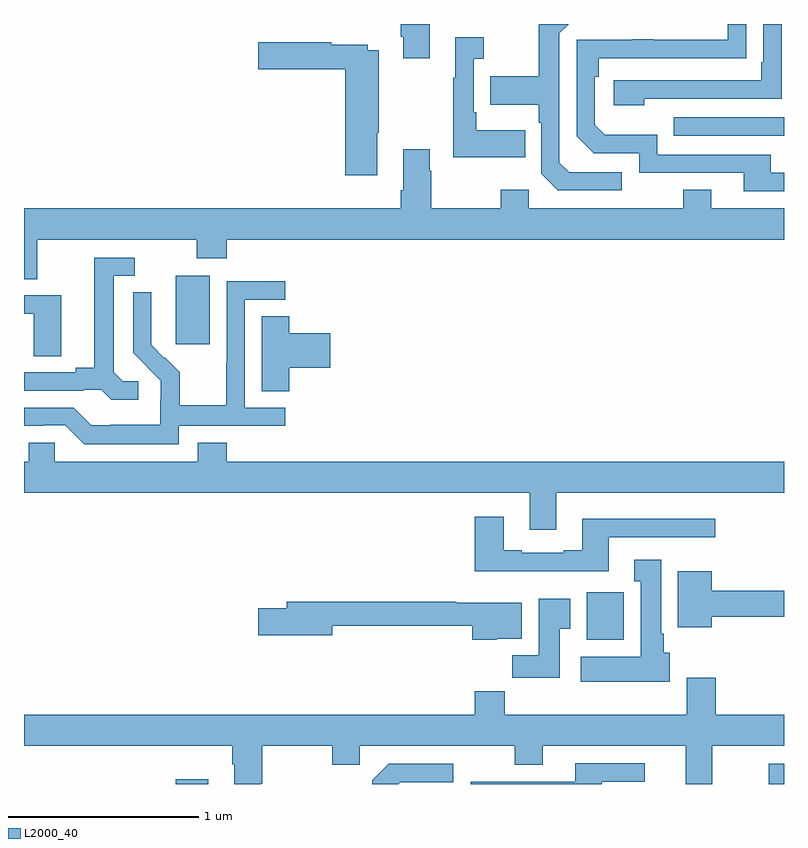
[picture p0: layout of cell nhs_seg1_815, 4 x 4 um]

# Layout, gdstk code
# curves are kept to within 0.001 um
import gdstk
lib = gdstk.Library(unit=1e-6, precision=1e-09)
def R(c, l, rs):  # rectangles x0, y0, x1, y1
    for r in rs: c.add(gdstk.rectangle(r[:2], r[2:], *l))
def P(c, l, *ps):  # polygons
    for p in ps: c.add(gdstk.Polygon(p, *l))
L2000_40 = (2000, 40)

nhs_seg1_815 = lib.new_cell('nhs_seg1_815')
R(nhs_seg1_815, L2000_40, [(155.798,550.199,155.971,550.225), (158.921,550.199,159,550.305), (157.961,550.958,158.157,551.209), (155.798,552.513,155.977,552.874), (158.419,553.611,159,553.707)])
P(nhs_seg1_815, L2000_40, [(159,553.416),(158.929,553.416),(158.929,553.512),(158.334,553.512),(158.334,553.615),(158.057,553.615),(158.004,553.668),(158.004,553.922),(158.024,553.922),(158.024,554.019),(158.801,554.02),(158.801,554.199),(158.705,554.199),(158.705,554.115),(158.315,554.115),(158.315,554.12),(158.203,554.12),(158.203,554.115),(157.908,554.115),(157.908,553.608),(157.998,553.518),(158.238,553.518),(158.238,553.416),(158.789,553.416),(158.789,553.32),(159,553.32)],
  [(158.264,553.806),(158.988,553.806),(158.988,554.199),(158.892,554.199),(158.892,553.999),(158.879,553.999),(158.879,553.902),(158.103,553.902),(158.103,553.772),(158.264,553.772)],
  [(157.135,554.199),(156.983,554.199),(156.983,554.131),(156.995,554.131),(156.995,554.019),(157.135,554.019)],
  [(158.146,553.419),(157.869,553.419),(157.818,553.47),(157.818,554.151),(157.866,554.199),(157.714,554.199),(157.71,554.195),(157.71,553.923),(157.453,553.923),(157.453,553.775),(157.71,553.775),(157.71,553.679),(157.722,553.679),(157.722,553.41),(157.809,553.323),(158.146,553.323)],
  [(157.637,553.639),(157.381,553.639),(157.381,553.735),(157.368,553.735),(157.368,554.015),(157.42,554.015),(157.42,554.128),(157.271,554.128),(157.271,553.915),(157.26,553.915),(157.26,553.499),(157.637,553.499)],
  [(156.859,553.627),(156.867,553.627),(156.867,554.062),(156.81,554.062),(156.81,554.091),(156.618,554.091),(156.618,554.103),(156.234,554.103),(156.234,553.961),(156.692,553.961),(156.692,553.404),(156.859,553.404)],
  [(155.071,553.064),(155.908,553.064),(155.908,552.965),(156.068,552.965),(156.068,553.064),(159,553.064),(159,553.228),(158.617,553.228),(158.617,553.327),(158.47,553.327),(158.47,553.228),(157.656,553.228),(157.656,553.327),(157.51,553.327),(157.51,553.228),(157.143,553.228),(157.143,553.427),(157.135,553.427),(157.135,553.54),(156.995,553.54),(156.995,553.324),(156.983,553.324),(156.983,553.228),(155,553.228),(155,552.856),(155.071,552.856)],
  [(155.602,552.318),(155.52,552.318),(155.473,552.365),(155.473,552.873),(155.584,552.873),(155.584,552.969),(155.369,552.969),(155.369,552.389),(155.273,552.389),(155.273,552.366),(155,552.366),(155,552.27),(155.312,552.27),(155.312,552.273),(155.406,552.273),(155.458,552.221),(155.602,552.221)],
  [(155.814,552.084),(156.376,552.084),(156.376,552.18),(156.162,552.18),(156.162,552.747),(156.376,552.747),(156.376,552.846),(156.066,552.846),(156.066,552.416),(156.064,552.416),(156.064,552.193),(155.819,552.193),(155.819,552.367),(155.742,552.444),(155.739,552.441),(155.669,552.512),(155.67,552.788),(155.574,552.788),(155.574,552.47),(155.72,552.322),(155.72,552.225),(155.718,552.225),(155.718,552.091),(155.455,552.091),(155.455,552.087),(155.355,552.087),(155.262,552.18),(155,552.18),(155,552.084),(155.102,552.084),(155.102,552.087),(155.217,552.087),(155.317,551.987),(155.814,551.987)],
  [(155.197,552.771),(155,552.771),(155,552.675),(155.052,552.675),(155.052,552.451),(155.197,552.451)],
  [(156.395,552.389),(156.613,552.389),(156.613,552.572),(156.395,552.572),(156.395,552.662),(156.251,552.662),(156.251,552.265),(156.395,552.265)],
  [(157.801,551.732),(159,551.732),(159,551.896),(156.068,551.896),(156.068,551.995),(155.915,551.995),(155.915,551.896),(155.163,551.896),(155.163,551.994),(155.025,551.994),(155.025,551.896),(155,551.896),(155,551.732),(157.661,551.732),(157.661,551.538),(157.801,551.538)],
  [(158.077,551.499),(158.638,551.499),(158.638,551.596),(157.937,551.596),(157.937,551.428),(157.841,551.428),(157.841,551.415),(157.621,551.415),(157.621,551.428),(157.525,551.428),(157.525,551.605),(157.373,551.605),(157.373,551.318),(158.077,551.318)],
  [(158.398,550.89),(158.368,550.89),(158.368,550.99),(158.353,550.99),(158.353,551.38),(158.213,551.38),(158.213,551.267),(158.246,551.267),(158.246,550.87),(157.929,550.87),(157.929,550.736),(158.398,550.736)],
  [(158.62,551.08),(159,551.08),(159,551.216),(158.62,551.216),(158.62,551.32),(158.441,551.32),(158.441,551.024),(158.62,551.024)],
  [(157.819,551.017),(157.876,551.017),(157.876,551.173),(157.709,551.173),(157.709,550.876),(157.57,550.876),(157.57,550.758),(157.819,550.758)],
  [(157.488,550.964),(157.621,550.964),(157.621,551.152),(157.274,551.152),(157.274,551.159),(156.383,551.159),(156.383,551.123),(156.234,551.123),(156.234,550.981),(156.622,550.981),(156.622,551.031),(157.358,551.031),(157.358,550.958),(157.488,550.958)],
  [(155,550.4),(156.095,550.4),(156.095,550.304),(156.107,550.304),(156.107,550.199),(156.247,550.199),(156.247,550.201),(156.255,550.201),(156.255,550.4),(156.622,550.4),(156.622,550.301),(156.768,550.301),(156.768,550.4),(157.582,550.4),(157.582,550.301),(157.729,550.301),(157.729,550.4),(158.483,550.4),(158.483,550.199),(158.623,550.199),(158.623,550.4),(159,550.4),(159,550.564),(158.642,550.564),(158.642,550.759),(158.489,550.759),(158.489,550.564),(157.529,550.564),(157.529,550.688),(157.373,550.688),(157.373,550.564),(155,550.564)],
  [(158.041,550.212),(158.266,550.212),(158.266,550.308),(157.901,550.308),(157.901,550.212),(157.35,550.212),(157.35,550.199),(158.041,550.199)],
  [(156.981,550.209),(157.258,550.209),(157.258,550.305),(156.921,550.305),(156.834,550.218),(156.834,550.199),(156.971,550.199)])

lib.write_gds('nhs_seg1_815.gds')
